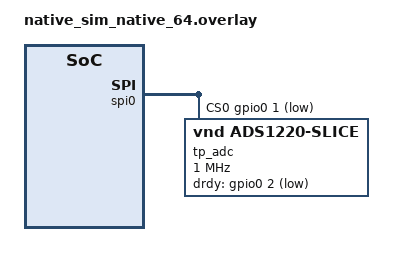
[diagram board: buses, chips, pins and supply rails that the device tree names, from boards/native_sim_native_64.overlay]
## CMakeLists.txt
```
cmake_minimum_required(VERSION 3.20.0)
find_package(Zephyr REQUIRED HINTS $ENV{ZEPHYR_BASE})
project(tp_zephyr_slice C)
target_include_directories(app PRIVATE src ../include)
target_sources(app PRIVATE src/main.c src/ads1220_zephyr.c
    ../drivers/ads1220.c ../drivers/adc_reader.c ../app/adc_status.c)
if(BOARD STREQUAL "native_sim")
    target_sources(app PRIVATE src/ads1220_emul.c)
endif()
target_sources_ifdef(CONFIG_TP_NATIVE_SELFTEST app PRIVATE tests/native_selftest.c)
```

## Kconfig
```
mainmenu "Water quality Zephyr slice"
source "Kconfig.zephyr"

config TP_NATIVE_SELFTEST
    bool "Run simulated ADS1220 and Modbus end-to-end check"
    depends on BOARD_NATIVE_SIM && UART_EMUL && SPI_EMUL && GPIO_EMUL
    default n
```

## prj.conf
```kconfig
CONFIG_GPIO=y
CONFIG_SPI=y
CONFIG_SERIAL=y
CONFIG_UART_INTERRUPT_DRIVEN=y
CONFIG_MODBUS=y
CONFIG_MODBUS_ROLE_SERVER=y
CONFIG_LOG=y
CONFIG_MAIN_STACK_SIZE=2048
```

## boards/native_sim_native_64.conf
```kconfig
CONFIG_EMUL=y
CONFIG_SPI_EMUL=y
CONFIG_GPIO_EMUL=y
```

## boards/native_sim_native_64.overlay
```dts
#include <zephyr/dt-bindings/gpio/gpio.h>
/ {
    aliases {
        tp-adc = &tp_adc;
        tp-modbus = &tp_modbus;
    };
    tp_uart: uart-emul {
        compatible = "zephyr,uart-emul";
        status = "okay";
        current-speed = <19200>;
        tp_modbus: modbus {
            compatible = "zephyr,modbus-serial";
            status = "okay";
        };
    };
};
&spi0 {
    cs-gpios = <&gpio0 1 GPIO_ACTIVE_LOW>;
    tp_adc: ads1220@0 {
        compatible = "vnd,ads1220-slice";
        reg = <0>;
        spi-max-frequency = <1000000>;
        drdy-gpios = <&gpio0 2 GPIO_ACTIVE_LOW>;
    };
};
```

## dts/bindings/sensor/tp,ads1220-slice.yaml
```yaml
description: ADS1220 used by the water quality sampling example
compatible: "tp,ads1220-slice"
include: spi-device.yaml
properties:
  drdy-gpios:
    type: phandle-array
    required: true
    description: Dedicated data-ready pin, active low
```

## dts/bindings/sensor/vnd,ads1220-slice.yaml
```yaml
description: ADS1220 used by the water quality sampling example
compatible: "vnd,ads1220-slice"
include: spi-device.yaml
properties:
  drdy-gpios:
    type: phandle-array
    required: true
    description: Dedicated data-ready pin, active low
```

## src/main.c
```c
#include <errno.h>
#include <zephyr/kernel.h>
#include <zephyr/device.h>
#include <zephyr/devicetree.h>
#include <zephyr/drivers/uart.h>
#include <zephyr/logging/log.h>
#include <zephyr/modbus/modbus.h>
#include "ads1220_zephyr.h"
#include "tp_adc_status.h"

LOG_MODULE_REGISTER(tp_slice, LOG_LEVEL_INF);
#define ADC_NODE DT_ALIAS(tp_adc)
#define MODBUS_NODE DT_ALIAS(tp_modbus)

static ads1220_zephyr bus = {
    .spi = SPI_DT_SPEC_GET(ADC_NODE, SPI_WORD_SET(8) | SPI_TRANSFER_MSB | SPI_MODE_CPHA, 0),
    .drdy = GPIO_DT_SPEC_GET(ADC_NODE, drdy_gpios),
};
static tp_ads1220 adc;
static tp_adc_reader reader;
static tp_adc_status status;
static tp_ads1220_io io;
static const uint8_t registers[4] = {0x01, 0, 0, 0};
/* Internal 2.048 V reference, gain 1, 24-bit bipolar output. */
static const tp_adc_channel channel = {8, 2.048f / 8388608.0f};
K_MUTEX_DEFINE(status_mutex);

static int holding_read(uint16_t addr, uint16_t *value) {
    k_mutex_lock(&status_mutex, K_FOREVER);
    tp_result result = tp_adc_status_read(&status, addr, 1, value);
    k_mutex_unlock(&status_mutex);
    return result == TP_OK ? 0 : -ENOTSUP;
}
static struct modbus_user_callbacks callbacks = {.holding_reg_rd = holding_read};
static struct modbus_iface_param params = {
    .mode = MODBUS_MODE_RTU,
    .server = {.user_cb = &callbacks, .unit_id = 1},
    .serial = {.baud = 19200, .parity = UART_CFG_PARITY_EVEN},
};
static int start_server(void) {
    int iface = modbus_iface_get_by_name(DEVICE_DT_NAME(MODBUS_NODE));
    return iface < 0 ? iface : modbus_init_server(iface, params);
}

int main(void) {
    bool initialized = false;
    if (start_server() != 0) {
        LOG_ERR("Modbus initialization failed");
        return 1;
    }
    for (;;) {
        if (!initialized || !adc.configured) {
            tp_result r = ads1220_zephyr_init(&bus, &io);
            if (r == TP_OK) r = tp_ads1220_init(&adc, &io, registers, 100);
            if (r == TP_OK && !initialized) {
                r = tp_adc_reader_init(&reader, &adc, &channel, 1);
                if (r == TP_OK) {
                    k_mutex_lock(&status_mutex, K_FOREVER);
                    uint16_t revision = status.revision;
                    r = tp_adc_status_init(&status, &reader, 0, 1000, k_uptime_get_32());
                    status.revision = (uint16_t)(revision + 1u);
                    k_mutex_unlock(&status_mutex);
                }
                initialized = r == TP_OK;
            }
            if (r != TP_OK) {
                k_mutex_lock(&status_mutex, K_FOREVER);
                status.status = 2; status.result = r; status.microvolts = 0;
                status.revision++;
                k_mutex_unlock(&status_mutex);
                k_sleep(K_MSEC(1000));
                continue;
            }
        }
        k_mutex_lock(&status_mutex, K_FOREVER);
        tp_adc_status_poll(&status, k_uptime_get_32());
        k_mutex_unlock(&status_mutex);
        k_sleep(K_MSEC(5));
    }
}
```

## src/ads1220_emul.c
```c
/* native_sim-only, deliberately limited to the commands used by this slice. */
#include <errno.h>
#include "../../tests/adc_slice_vector.h"
#include <string.h>
#include <zephyr/device.h>
#include <zephyr/drivers/emul.h>
#include <zephyr/drivers/spi_emul.h>

static uint8_t registers[4];
static int io(const struct emul *emul, const struct spi_config *config,
              const struct spi_buf_set *tx, const struct spi_buf_set *rx) {
    ARG_UNUSED(emul); ARG_UNUSED(config);
    if (!tx || !rx || tx->count != 1 || rx->count != 1 ||
        !tx->buffers[0].buf || !rx->buffers[0].buf ||
        tx->buffers[0].len != rx->buffers[0].len) return -EINVAL;
    const uint8_t *in = tx->buffers[0].buf;
    uint8_t *out = rx->buffers[0].buf;
    size_t n = tx->buffers[0].len;
    if (!n) return -EINVAL;
    memset(out, 0, n);
    if (n == 5 && in[0] == 0x43) memcpy(registers, in + 1, 4);
    else if (n == 5 && in[0] == 0x23) memcpy(out + 1, registers, 4);
    else if (n == 2 && in[0] == 0x40) registers[0] = in[1];
    else if (n == 4 && in[0] == 0x10) { out[1] = (uint8_t)(TP_SLICE_RAW >> 16); out[2] = (uint8_t)(TP_SLICE_RAW >> 8); out[3] = (uint8_t)TP_SLICE_RAW; }
    else if (n != 1 || (in[0] != 0x08 && in[0] != 0x02)) return -EINVAL;
    return 0;
}
static int emul_init(const struct emul *emul, const struct device *parent) {
    ARG_UNUSED(emul); ARG_UNUSED(parent); return 0;
}
static int adc_emul_device_init(const struct device *device) { ARG_UNUSED(device); return 0; }
static const struct spi_emul_api api = {.io = io};
DEVICE_DT_DEFINE(DT_ALIAS(tp_adc), adc_emul_device_init, NULL, NULL, NULL, POST_KERNEL,
                 CONFIG_KERNEL_INIT_PRIORITY_DEVICE, NULL);
EMUL_DT_DEFINE(DT_ALIAS(tp_adc), emul_init, NULL, NULL, &api, NULL);
```

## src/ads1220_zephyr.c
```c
#include "ads1220_zephyr.h"

static tp_result transfer(void *ctx, const uint8_t *tx, uint8_t *rx, size_t len) {
    ads1220_zephyr *a = ctx;
    if (!a || !tx || !rx || !len) return TP_INVALID;
    struct spi_buf txbuf = {.buf = (void *)tx, .len = len};
    struct spi_buf rxbuf = {.buf = rx, .len = len};
    struct spi_buf_set txset = {.buffers = &txbuf, .count = 1};
    struct spi_buf_set rxset = {.buffers = &rxbuf, .count = 1};
    return spi_transceive_dt(&a->spi, &txset, &rxset) == 0 ? TP_OK : TP_IO_ERROR;
}
static tp_result data_ready(void *ctx, bool *ready) {
    ads1220_zephyr *a = ctx;
    if (!a || !ready) return TP_INVALID;
    int result = gpio_pin_get_dt(&a->drdy);
    if (result < 0) return TP_IO_ERROR;
    *ready = result != 0;
    return TP_OK;
}
tp_result ads1220_zephyr_init(ads1220_zephyr *a, tp_ads1220_io *io) {
    if (!a || !io) return TP_INVALID;
    if (!spi_is_ready_dt(&a->spi) || !gpio_is_ready_dt(&a->drdy)) return TP_IO_ERROR;
    if (gpio_pin_configure_dt(&a->drdy, GPIO_INPUT) != 0) return TP_IO_ERROR;
    *io = (tp_ads1220_io){a, transfer, data_ready};
    return TP_OK;
}
```

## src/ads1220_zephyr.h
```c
#ifndef ADS1220_ZEPHYR_H
#define ADS1220_ZEPHYR_H
#include <zephyr/drivers/gpio.h>
#include <zephyr/drivers/spi.h>
#include "tp_ads1220.h"

/* The SPI and GPIO specs must remain valid for the lifetime of this object.
 * DRDY must be declared active-low in devicetree. Use one owner for the ADC. */
typedef struct {
    struct spi_dt_spec spi;
    struct gpio_dt_spec drdy;
} ads1220_zephyr;
tp_result ads1220_zephyr_init(ads1220_zephyr *adapter, tp_ads1220_io *io);
#endif
```
